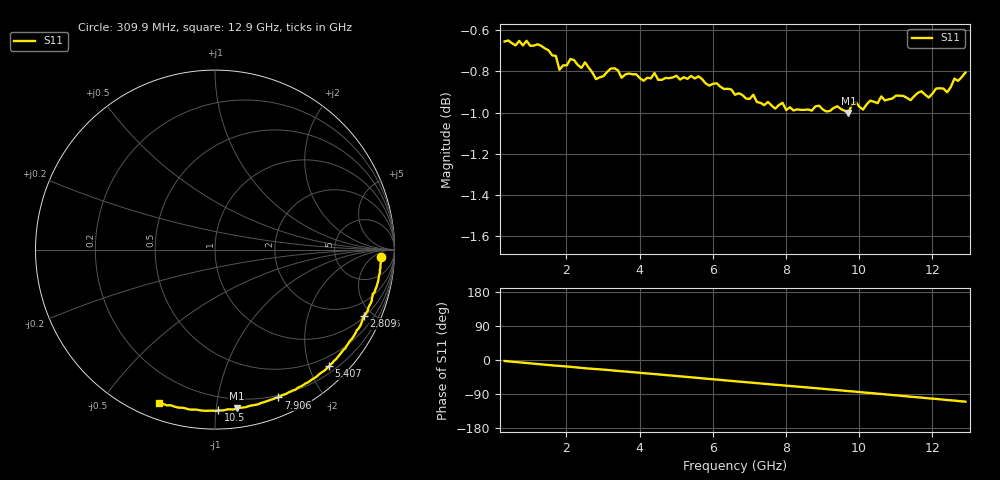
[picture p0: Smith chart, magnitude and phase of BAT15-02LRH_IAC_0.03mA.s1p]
! Infineon Technologies  Discrete & RF Semiconductors
! BAT15-02LRH
! IAC = 0.03 mA
! One-Port S-Parameters
# Hz  S  MA  R  50
!f  S11
!Hz  Mag  Ang
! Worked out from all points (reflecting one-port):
!   127 points, 309.9 MHz to 12.9 GHz, reference 50 ohm
!   lowest |S11| = -1.0 dB at 9.705 GHz (marker M1), VSWR 17.37, Z = 6.64 - j56.9 ohm
!   phase of S11 starts at -3 deg and turns -107 deg over the sweep
!   S11 on the Smith chart (normalised r, x): 309.9 MHz: 19, -12; 2.809 GHz: 1.06, -4.47; 5.407 GHz: 0.31, -2.34; 7.906 GHz: 0.18, -1.50; 10.5 GHz: 0.11, -1.01; 12.9 GHz: 0.07, -0.70
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3.0985e8  0.9274 -2.7
9.0955e8  0.9278 -7.9
1.2094e9  0.926 -10.6
1.70915e9  0.92 -15.0
1.8091e9  0.9129 -15.7
1.90905e9  0.9151 -16.4
2.10895e9  0.9184 -18.0
2.50875e9  0.9167 -21.7
2.8086e9  0.9081 -24.0
3.2084e9  0.9134 -27.0
3.50825e9  0.9088 -29.7
4.4078e9  0.9112 -37.1
5.10745e9  0.9079 -43.1
5.4073e9  0.9097 -45.6
6.10695e9  0.906 -51.7
6.6067e9  0.9002 -56.0
7.10645e9  0.9002 -60.2
7.70615e9  0.8932 -65.3
7.90605e9  0.8962 -66.8
8.2059e9  0.8923 -69.4
8.90555e9  0.8947 -75.1
9.70515e9  0.8911 -82.1
9.8051e9  0.8955 -82.8
1.050475e10  0.896 -88.9
1.10045e10  0.8998 -93.1
1.14043e10  0.8975 -96.9
1.170415e10  0.9019 -99.2
1.290355e10  0.9114 -109.9
